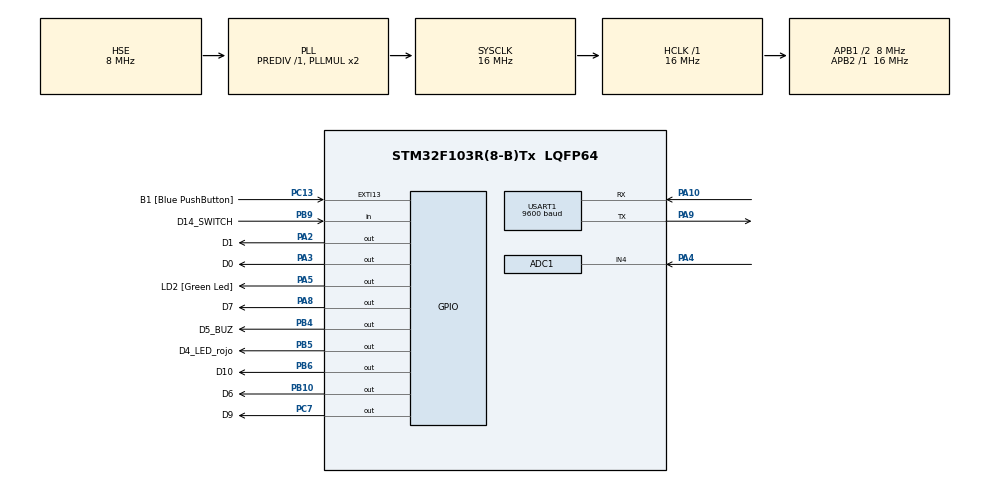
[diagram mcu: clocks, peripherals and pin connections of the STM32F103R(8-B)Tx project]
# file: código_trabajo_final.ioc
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ADC1.Channel-0\#ChannelRegularConversion=ADC_CHANNEL_4
ADC1.ContinuousConvMode=DISABLE
ADC1.NbrOfConversionFlag=1
ADC1.Rank-0\#ChannelRegularConversion=1
ADC1.SamplingTime-0\#ChannelRegularConversion=ADC_SAMPLETIME_41CYCLES_5
ADC1.master=1
Dma.Request0=USART1_RX
Dma.Request1=USART1_TX
Dma.USART1_RX.0.Direction=DMA_PERIPH_TO_MEMORY
Dma.USART1_RX.0.Instance=DMA1_Channel5
Dma.USART1_RX.0.MemDataAlignment=DMA_MDATAALIGN_BYTE
Dma.USART1_RX.0.MemInc=DMA_MINC_ENABLE
Dma.USART1_RX.0.Mode=DMA_NORMAL
Dma.USART1_RX.0.PeriphDataAlignment=DMA_PDATAALIGN_BYTE
Dma.USART1_RX.0.PeriphInc=DMA_PINC_DISABLE
Dma.USART1_RX.0.Priority=DMA_PRIORITY_LOW
Dma.USART1_TX.1.Direction=DMA_MEMORY_TO_PERIPH
Dma.USART1_TX.1.Instance=DMA1_Channel4
Dma.USART1_TX.1.MemDataAlignment=DMA_MDATAALIGN_BYTE
Dma.USART1_TX.1.MemInc=DMA_MINC_ENABLE
Dma.USART1_TX.1.Mode=DMA_NORMAL
Dma.USART1_TX.1.PeriphDataAlignment=DMA_PDATAALIGN_BYTE
Dma.USART1_TX.1.PeriphInc=DMA_PINC_DISABLE
Dma.USART1_TX.1.Priority=DMA_PRIORITY_LOW
Mcu.Family=STM32F1
Mcu.Name=STM32F103R(8-B)Tx
Mcu.Package=LQFP64
NVIC.DMA1_Channel4_IRQn=true\:0\:0\:false\:false\:true\:false\:true\:true
NVIC.DMA1_Channel5_IRQn=true\:0\:0\:false\:false\:true\:false\:true\:true
NVIC.EXTI15_10_IRQn=true\:0\:0\:false\:false\:true\:true\:true\:true
NVIC.PriorityGroup=NVIC_PRIORITYGROUP_4
NVIC.TIM2_IRQn=true\:0\:0\:false\:false\:true\:true\:true\:true
NVIC.USART1_IRQn=true\:0\:0\:false\:false\:true\:true\:true\:true
PA10.Mode=Asynchronous
PA10.Signal=USART1_RX
PA13.GPIO_Label=TMS
PA13.Mode=Serial_Wire
PA13.Signal=SYS_JTMS-SWDIO
PA14.GPIO_Label=TCK
PA14.Mode=Serial_Wire
PA14.Signal=SYS_JTCK-SWCLK
PA2.GPIO_Label=D1
PA2.Signal=GPIO_Output
PA3.GPIO_Label=D0
PA3.Signal=GPIO_Output
PA4.Signal=ADCx_IN4
PA5.GPIO_Label=LD2 [Green Led]
PA5.GPIO_ModeDefaultOutputPP=GPIO_MODE_OUTPUT_PP
PA5.GPIO_PuPd=GPIO_NOPULL
PA5.GPIO_Speed=GPIO_SPEED_FREQ_LOW
PA5.Signal=GPIO_Output
PA8.GPIO_Label=D7
PA8.Signal=GPIO_Output
PA9.Mode=Asynchronous
PA9.Signal=USART1_TX
PB10.GPIO_Label=D6
PB10.Signal=GPIO_Output
PB3.GPIO_Label=SWO
PB3.Signal=SYS_JTDO-TRACESWO
PB4.GPIO_Label=D5_BUZ
PB4.Signal=GPIO_Output
PB5.GPIO_Label=D4_LED_rojo
PB5.Signal=GPIO_Output
PB6.GPIO_Label=D10
PB6.Signal=GPIO_Output
PB9.GPIO_Label=D14_SWITCH
PB9.Signal=GPIO_Input
PC13-TAMPER-RTC.GPIO_Label=B1 [Blue PushButton]
PC13-TAMPER-RTC.GPIO_PuPd=GPIO_NOPULL
PC13-TAMPER-RTC.Signal=GPXTI13
PC14-OSC32_IN.Signal=RCC_OSC32_IN
PC15-OSC32_OUT.Signal=RCC_OSC32_OUT
PC7.GPIO_Label=D9
PC7.Signal=GPIO_Output
PD0-OSC_IN.Mode=HSE-External-Clock-Source
PD0-OSC_IN.Signal=RCC_OSC_IN
PD1-OSC_OUT.Mode=HSE-External-Clock-Source
PD1-OSC_OUT.Signal=RCC_OSC_OUT
ProjectManager.HeapSize=0x200
ProjectManager.StackSize=0x400
ProjectManager.TargetToolchain=STM32CubeIDE
RCC.AHBFreq_Value=16000000
RCC.APB1CLKDivider=RCC_HCLK_DIV2
RCC.APB1Freq_Value=8000000
RCC.APB1TimFreq_Value=16000000
RCC.APB2Freq_Value=16000000
RCC.APB2TimFreq_Value=16000000
RCC.HCLKFreq_Value=16000000
RCC.PLLSourceVirtual=RCC_PLLSOURCE_HSE
RCC.RTCClockSelection=RCC_RTCCLKSOURCE_LSE
RCC.SYSCLKFreq_VALUE=16000000
RCC.SYSCLKSource=RCC_SYSCLKSOURCE_PLLCLK
RCC.USBFreq_Value=16000000
SH.ADCx_IN4.0=ADC1_IN4,IN4
TIM2.Period=999
TIM2.Prescaler=1599
USART1.BaudRate=9600
USART1.VirtualMode=VM_ASYNC
VP_TIM2_VS_ClockSourceINT.Mode=Internal
board=NUCLEO-F103RB

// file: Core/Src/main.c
/* USER CODE BEGIN Header */
/**
  ******************************************************************************
  * @file           : main.c
  * @brief          : Main program body
  ******************************************************************************
  * @attention
  *
  * Copyright (c) 2026 STMicroelectronics.
  * All rights reserved.
  *
  * This software is licensed under terms that can be found in the LICENSE file
  * in the root directory of this software component.
  * If no LICENSE file comes with this software, it is provided AS-IS.
  *
  ******************************************************************************
  */
/* USER CODE END Header */
#include "main.h"

/* USER CODE BEGIN Includes */
#include "string.h"
#include "stdio.h"
#include "math.h"
#include "stdlib.h"
#include "cod_display.h"

///Defino la seccion de memoria que voy a utilizar para guardar modo
#define FLASH_USER_START_ADDR  0x0801FC00
/* USER CODE END Includes */

ADC_HandleTypeDef hadc1;

TIM_HandleTypeDef htim2;

UART_HandleTypeDef huart1;
DMA_HandleTypeDef hdma_usart1_rx;
DMA_HandleTypeDef hdma_usart1_tx;

/* USER CODE BEGIN PV */
	volatile uint8_t adc_flag = 0; ///Flag para leer valor del adc
	volatile uint8_t timer_flag = 0;
	///MANEJO DE MEMORIA
	typedef struct {
	    uint32_t firma;
	    uint32_t modo;
	    uint32_t temp_usuario;
	} Config;

	#define CONFIG_FIRMA 0xDEADBEEF

	///FUNCION PARA ESCRIBIR EN LA FLASH
	void Flash_Write_Config(Config *config)
	{
	    HAL_FLASH_Unlock();

	    FLASH_EraseInitTypeDef EraseInitStruct;
	    uint32_t PageError;

	    EraseInitStruct.TypeErase = FLASH_TYPEERASE_PAGES;
	    EraseInitStruct.PageAddress = FLASH_USER_START_ADDR;
	    EraseInitStruct.NbPages = 1;

	    HAL_FLASHEx_Erase(&EraseInitStruct, &PageError);

	    uint32_t *data = (uint32_t*) config;
	    for (int i = 0; i < sizeof(Config)/4; i++)
	    {
	        HAL_FLASH_Program(FLASH_TYPEPROGRAM_WORD,
	                          FLASH_USER_START_ADDR + i*4,
	                          data[i]);
	    }

	    HAL_FLASH_Lock();
	}

	///FUNCION PARA LEER MEMORIA

	void Flash_Read_Config(Config *config)
	{
	    memcpy(config, (void*)FLASH_USER_START_ADDR, sizeof(Config));
	}
	///ADC FLAG!!!!
	void HAL_TIM_PeriodElapsedCallback(TIM_HandleTypeDef *htim)
	{
	    if (htim->Instance == TIM2)
	    {
	       adc_flag = 1;

	    }
	}

	static uint8_t rx_buf[32];
	static char* tx_1 = "Bienvenido, ingrese el modo que desea:\n Opciones: MATE - TE - SET [XX] - REPETIR\r\n";
	static char* tx_3 = "Opciones: MATE - TE - SET [XX] - REPETIR\r\n";

	volatile uint8_t rx_ready = 0; ///variable para la funcion callback -> indica el fin de la recepcion de datos
	volatile uint16_t rx_size = 0;

	///Me conviene usar este callback ya que los mensajes que el micro recibe no tienen todos la misma longitud
	void HAL_UARTEx_RxEventCallback(UART_HandleTypeDef *huart, uint16_t Size)
	{
	    if (huart->Instance == USART1)
	    {
	        rx_size = Size;   //
	        rx_ready = 1;

	        HAL_UARTEx_ReceiveToIdle_DMA(&huart1, rx_buf, sizeof(rx_buf));
	    }
	}
///la tension del ADC no puede superar los 3.3V
	uint32_t adc_read_once(void)
	{
	    HAL_ADC_Start(&hadc1);

	    if (HAL_ADC_PollForConversion(&hadc1, 100) == HAL_OK)
	    {
	        uint32_t val = HAL_ADC_GetValue(&hadc1);
	        HAL_ADC_Stop(&hadc1);
	        return val;
	    }

	    HAL_ADC_Stop(&hadc1);
	    return 0;   // error
	}
	uint32_t adc_in;///Valor de entrada ADC, luego convertir a tension
	float tension_a3;
	float r_ntc;
/* USER CODE END PV */

void SystemClock_Config(void);
static void MX_GPIO_Init(void);
static void MX_DMA_Init(void);
static void MX_USART1_UART_Init(void);
static void MX_ADC1_Init(void);
static void MX_TIM2_Init(void);

int main(void)
{

  /* MCU Configuration--------------------------------------------------------*/

  /* Reset of all peripherals, Initializes the Flash interface and the Systick. */
  HAL_Init();

  /* Configure the system clock */
  SystemClock_Config();

  /* Initialize all configured peripherals */
  MX_GPIO_Init();
  MX_DMA_Init();
  MX_USART1_UART_Init();
  MX_ADC1_Init();
  MX_TIM2_Init();
  /* USER CODE BEGIN 2 */
  HAL_TIM_Base_Start_IT(&htim2);
//  if (HAL_TIM_Base_Start_IT(&htim2) != HAL_OK)
//  {
//      Error_Handler();
//  }
  ///int size = strlen(tx_1);
  ///int size2 = strlen(tx_2);
//  HAL_UART_Receive_DMA(&huart1,rx_buf,size);
///MEMORIA, CONFIG
  Config config;

  Flash_Read_Config(&config);

  if(config.firma != CONFIG_FIRMA)
  {
      // Valores por defecto
      config.modo = 0;
      config.temp_usuario = 75;
      config.firma = CONFIG_FIRMA;

      Flash_Write_Config(&config);
  }
  HAL_Delay(200);
  char msg[60];

  HAL_UART_Transmit_DMA(&huart1, (uint8_t*)tx_1, strlen(tx_1));

  ///Esta funcion recibe hasta el "silencio" osea no espera a que se llene el buffer de rx
  HAL_UARTEx_ReceiveToIdle_DMA(&huart1, rx_buf, sizeof(rx_buf));
  __HAL_DMA_DISABLE_IT(huart1.hdmarx, DMA_IT_HT); ///No se para que es esto -> Para prevenir que el callback se dispare dos veces

  /* USER CODE END 2 */

  /* Infinite loop */
  /* USER CODE BEGIN WHILE */

  uint8_t alerta_confirmada = 0;
  uint8_t buzzer_activo = 0;
  uint8_t switch_activo = HAL_GPIO_ReadPin(GPIOB, GPIO_PIN_9);

//  CoreDebug->DEMCR |= CoreDebug_DEMCR_TRCENA_Msk;
//  DWT->CYCCNT = 0;
//  DWT->CTRL |= DWT_CTRL_CYCCNTENA_Msk;
  while (1)
  {
	    char r_txt[50];

		///resolucion del ADC 12 bits == 0 - 4095
	    if (rx_ready)
	    {
	        rx_ready = 0;

	        if (rx_size < sizeof(rx_buf))
	            rx_buf[rx_size] = '\0';
	        else
	        {
	            rx_buf[sizeof(rx_buf)-1] = '\0';
	        }
	        ///COMPARO EL MENSAJE RECIBIDO PARA VERIFICAR ELECCION DEL USUARIO
		    if (strncmp(rx_buf, "MATE", 4) == 0)
		    {
		    	sprintf(r_txt, "Modo MATE - 80C\r\n");
		    	HAL_UART_Transmit(&huart1, (uint8_t*)r_txt, strlen(r_txt), 100);
		        config.modo = 1;
		        config.temp_usuario = 80;
		        Flash_Write_Config(&config);
		    }

		    else if (strncmp(rx_buf, "TE", 2) == 0)
		    {
		    	sprintf(r_txt, "Modo TE - 90C\r\n");
		    	HAL_UART_Transmit(&huart1, (uint8_t*)r_txt, strlen(r_txt), 100);
		        config.modo = 2;
		        config.temp_usuario = 90;
		        Flash_Write_Config(&config);
		    }

		    else if (strncmp(rx_buf, "SET ", 4) == 0)
		    {

		        char *endptr;
		        int temp = strtol(rx_buf + 4, &endptr, 10);

		        if (endptr != rx_buf + 4)
		        {
		            config.modo = 3;
		            config.temp_usuario = temp;
		            Flash_Write_Config(&config);
		        }
		        else
		        {
		            sprintf(r_txt, "Error formato. Use: SET XX\r\n");
		        }
		    	sprintf(r_txt, "Modo PERSONALIZADO - %d C\r\n", temp);
		    	HAL_UART_Transmit(&huart1, (uint8_t*)r_txt, strlen(r_txt), 100);
		    }
		    else if (strncmp(rx_buf, "REPETIR", 7) == 0)
		    {
		        // no leo flash, uso lo que ya está en config

		        if (config.modo == 1)
		        {
		            sprintf(r_txt, "Repitiendo Modo MATE - 80C\r\n");
		        }
		        else if (config.modo == 2)
		        {
		            sprintf(r_txt, "Repitiendo Modo TE - 90C\r\n");
		        }
		        else if (config.modo == 3)
		        {
		            sprintf(r_txt, "Repitiendo Modo PERSONALIZADO - %ld C\r\n", config.temp_usuario);
		        }

		        HAL_UART_Transmit(&huart1, (uint8_t*)r_txt, strlen(r_txt), 100);

   			if (strncmp((char*)rx_buf, "OK!", 3) == 0)
   			{
   				alerta_confirmada = 1;
   				HAL_GPIO_WritePin(GPIOB, GPIO_PIN_4, GPIO_PIN_RESET);
   			}

	    }
	    if (adc_flag)
	   	    {

	   	        adc_flag = 0;
	   	        adc_in = adc_read_once();
	   		  	float tension_a3 = ((float)adc_in/4095.0f) * 3.3f;

	   		  	///Constantes del termistor NTC
	   		  	float beta = 3950.0f;
	   		  	float T0 = 298.15f;      // 25°C en Kelvin
	   		  	float R0 = 10000.0f;     // 10k nominal
	   		  	///CALCULO LA RESISTENCIA MEDAINTE EL DISVISOR RESISTIVO
	   		  	r_ntc = (tension_a3*9400.0f) / (3.3f - tension_a3);
	   		  	float tempK = 1.0f / ( (1.0f/T0) + (1.0f/beta)*log(r_ntc/R0) );
	   		  	float tempC = tempK - 273.15f;

	   		  	int tempC_int = (int) (tempC);
	   		  	char tx_buf[40];
	   		 	 sprintf(tx_buf, "ALERTA TEMP = %d \r\n", tempC_int);

	   		 	if (tempC_int > config.temp_usuario) ///temp del sensor supera la del usuario -> envia notificacion, activa led y buzzer
	   			{
	   		  			if(!alerta_confirmada)
	   		  			{
	   		  				HAL_UART_Transmit(&huart1, (uint8_t*)tx_buf, strlen(tx_buf), 1000);
	   		  				buzzer_activo =1;
	   		  			}
	   		  			else
	   		  			{
	   		  				buzzer_activo = 0;
	   		  			}
	   			 }

	   		  	else
	   		  	{
	   		  		alerta_confirmada = 0;
	   		  		buzzer_activo = 0;
	   		  	}
	   		  	///depende del flag del buzzer lo enciendo o no
	   		 HAL_GPIO_WritePin(GPIOB, GPIO_PIN_4, buzzer_activo ? GPIO_PIN_SET : GPIO_PIN_RESET);

	   		uint32_t start = DWT->CYCCNT;

	   		// procesamiento ADC

	   		uint32_t end = DWT->CYCCNT;
	   		uint32_t ciclos = end - start;
	   	    }
	    __WFI();

  }

}

    /* USER CODE END WHILE */

    /* USER CODE BEGIN 3 */

    /* USER CODE END WHILE */

    /* USER CODE BEGIN 3 */

  /* USER CODE END 3 */
}

void SystemClock_Config(void)
{
  RCC_OscInitTypeDef RCC_OscInitStruct = {0};
  RCC_ClkInitTypeDef RCC_ClkInitStruct = {0};
  RCC_PeriphCLKInitTypeDef PeriphClkInit = {0};

  /** Initializes the RCC Oscillators according to the specified parameters
  * in the RCC_OscInitTypeDef structure.
  */
  RCC_OscInitStruct.OscillatorType = RCC_OSCILLATORTYPE_HSE;
  RCC_OscInitStruct.HSEState = RCC_HSE_BYPASS;
  RCC_OscInitStruct.HSEPredivValue = RCC_HSE_PREDIV_DIV1;
  RCC_OscInitStruct.HSIState = RCC_HSI_ON;
  RCC_OscInitStruct.PLL.PLLState = RCC_PLL_ON;
  RCC_OscInitStruct.PLL.PLLSource = RCC_PLLSOURCE_HSE;
  RCC_OscInitStruct.PLL.PLLMUL = RCC_PLL_MUL2;
  if (HAL_RCC_OscConfig(&RCC_OscInitStruct) != HAL_OK)
  {
    Error_Handler();
  }

  /** Initializes the CPU, AHB and APB buses clocks
  */
  RCC_ClkInitStruct.ClockType = RCC_CLOCKTYPE_HCLK|RCC_CLOCKTYPE_SYSCLK
                              |RCC_CLOCKTYPE_PCLK1|RCC_CLOCKTYPE_PCLK2;
  RCC_ClkInitStruct.SYSCLKSource = RCC_SYSCLKSOURCE_PLLCLK;
  RCC_ClkInitStruct.AHBCLKDivider = RCC_SYSCLK_DIV1;
  RCC_ClkInitStruct.APB1CLKDivider = RCC_HCLK_DIV2;
  RCC_ClkInitStruct.APB2CLKDivider = RCC_HCLK_DIV1;

  if (HAL_RCC_ClockConfig(&RCC_ClkInitStruct, FLASH_LATENCY_0) != HAL_OK)
  {
    Error_Handler();
  }
  PeriphClkInit.PeriphClockSelection = RCC_PERIPHCLK_ADC;
  PeriphClkInit.AdcClockSelection = RCC_ADCPCLK2_DIV2;
  if (HAL_RCCEx_PeriphCLKConfig(&PeriphClkInit) != HAL_OK)
  {
    Error_Handler();
  }
}

static void MX_ADC1_Init(void)
{

  ADC_ChannelConfTypeDef sConfig = {0};

  /** Common config
  */
  hadc1.Instance = ADC1;
  hadc1.Init.ScanConvMode = ADC_SCAN_DISABLE;
  hadc1.Init.ContinuousConvMode = DISABLE;
  hadc1.Init.DiscontinuousConvMode = DISABLE;
  hadc1.Init.ExternalTrigConv = ADC_SOFTWARE_START;
  hadc1.Init.DataAlign = ADC_DATAALIGN_RIGHT;
  hadc1.Init.NbrOfConversion = 1;
  if (HAL_ADC_Init(&hadc1) != HAL_OK)
  {
    Error_Handler();
  }

  /** Configure Regular Channel
  */
  sConfig.Channel = ADC_CHANNEL_4;
  sConfig.Rank = ADC_REGULAR_RANK_1;
  sConfig.SamplingTime = ADC_SAMPLETIME_41CYCLES_5;
  if (HAL_ADC_ConfigChannel(&hadc1, &sConfig) != HAL_OK)
  {
    Error_Handler();
  }

}

static void MX_TIM2_Init(void)
{

  TIM_ClockConfigTypeDef sClockSourceConfig = {0};
  TIM_MasterConfigTypeDef sMasterConfig = {0};

  htim2.Instance = TIM2;
  htim2.Init.Prescaler = 1599;
  htim2.Init.CounterMode = TIM_COUNTERMODE_UP;
  htim2.Init.Period = 999;
  htim2.Init.ClockDivision = TIM_CLOCKDIVISION_DIV1;
  htim2.Init.AutoReloadPreload = TIM_AUTORELOAD_PRELOAD_DISABLE;
  if (HAL_TIM_Base_Init(&htim2) != HAL_OK)
  {
    Error_Handler();
  }
  sClockSourceConfig.ClockSource = TIM_CLOCKSOURCE_INTERNAL;
  if (HAL_TIM_ConfigClockSource(&htim2, &sClockSourceConfig) != HAL_OK)
  {
    Error_Handler();
  }
  sMasterConfig.MasterOutputTrigger = TIM_TRGO_RESET;
  sMasterConfig.MasterSlaveMode = TIM_MASTERSLAVEMODE_DISABLE;
  if (HAL_TIMEx_MasterConfigSynchronization(&htim2, &sMasterConfig) != HAL_OK)
  {
    Error_Handler();
  }

}

static void MX_USART1_UART_Init(void)
{

  huart1.Instance = USART1;
  huart1.Init.BaudRate = 9600;
  huart1.Init.WordLength = UART_WORDLENGTH_8B;
  huart1.Init.StopBits = UART_STOPBITS_1;
  huart1.Init.Parity = UART_PARITY_NONE;
  huart1.Init.Mode = UART_MODE_TX_RX;
  huart1.Init.HwFlowCtl = UART_HWCONTROL_NONE;
  huart1.Init.OverSampling = UART_OVERSAMPLING_16;
  if (HAL_UART_Init(&huart1) != HAL_OK)
  {
    Error_Handler();
  }

}

static void MX_DMA_Init(void)
{

  /* DMA controller clock enable */
  __HAL_RCC_DMA1_CLK_ENABLE();

  /* DMA interrupt init */
  /* DMA1_Channel4_IRQn interrupt configuration */
  HAL_NVIC_SetPriority(DMA1_Channel4_IRQn, 0, 0);
  HAL_NVIC_EnableIRQ(DMA1_Channel4_IRQn);
  /* DMA1_Channel5_IRQn interrupt configuration */
  HAL_NVIC_SetPriority(DMA1_Channel5_IRQn, 0, 0);
  HAL_NVIC_EnableIRQ(DMA1_Channel5_IRQn);

}

static void MX_GPIO_Init(void)
{
  GPIO_InitTypeDef GPIO_InitStruct = {0};

  /* GPIO Ports Clock Enable */
  __HAL_RCC_GPIOC_CLK_ENABLE();
  __HAL_RCC_GPIOD_CLK_ENABLE();
  __HAL_RCC_GPIOA_CLK_ENABLE();
  __HAL_RCC_GPIOB_CLK_ENABLE();

  /*Configure GPIO pin Output Level */
  HAL_GPIO_WritePin(GPIOA, D1_Pin|D0_Pin|LD2_Pin|D7_Pin, GPIO_PIN_RESET);

  /*Configure GPIO pin Output Level */
  HAL_GPIO_WritePin(GPIOB, D6_Pin|D5_BUZ_Pin|D4_LED_rojo_Pin|D10_Pin, GPIO_PIN_RESET);

  /*Configure GPIO pin Output Level */
  HAL_GPIO_WritePin(D9_GPIO_Port, D9_Pin, GPIO_PIN_RESET);

  /*Configure GPIO pin : B1_Pin */
  GPIO_InitStruct.Pin = B1_Pin;
  GPIO_InitStruct.Mode = GPIO_MODE_IT_RISING;
  GPIO_InitStruct.Pull = GPIO_NOPULL;
  HAL_GPIO_Init(B1_GPIO_Port, &GPIO_InitStruct);

  /*Configure GPIO pins : D1_Pin D0_Pin LD2_Pin D7_Pin */
  GPIO_InitStruct.Pin = D1_Pin|D0_Pin|LD2_Pin|D7_Pin;
  GPIO_InitStruct.Mode = GPIO_MODE_OUTPUT_PP;
  GPIO_InitStruct.Pull = GPIO_NOPULL;
  GPIO_InitStruct.Speed = GPIO_SPEED_FREQ_LOW;
  HAL_GPIO_Init(GPIOA, &GPIO_InitStruct);

  /*Configure GPIO pins : D6_Pin D5_BUZ_Pin D4_LED_rojo_Pin D10_Pin */
  GPIO_InitStruct.Pin = D6_Pin|D5_BUZ_Pin|D4_LED_rojo_Pin|D10_Pin;
  GPIO_InitStruct.Mode = GPIO_MODE_OUTPUT_PP;
  GPIO_InitStruct.Pull = GPIO_NOPULL;
  GPIO_InitStruct.Speed = GPIO_SPEED_FREQ_LOW;
  HAL_GPIO_Init(GPIOB, &GPIO_InitStruct);

  /*Configure GPIO pin : D9_Pin */
  GPIO_InitStruct.Pin = D9_Pin;
  GPIO_InitStruct.Mode = GPIO_MODE_OUTPUT_PP;
  GPIO_InitStruct.Pull = GPIO_NOPULL;
  GPIO_InitStruct.Speed = GPIO_SPEED_FREQ_LOW;
  HAL_GPIO_Init(D9_GPIO_Port, &GPIO_InitStruct);

  /*Configure GPIO pin : D14_SWITCH_Pin */
  GPIO_InitStruct.Pin = D14_SWITCH_Pin;
  GPIO_InitStruct.Mode = GPIO_MODE_INPUT;
  GPIO_InitStruct.Pull = GPIO_NOPULL;
  HAL_GPIO_Init(D14_SWITCH_GPIO_Port, &GPIO_InitStruct);

  /* EXTI interrupt init*/
  HAL_NVIC_SetPriority(EXTI15_10_IRQn, 0, 0);
  HAL_NVIC_EnableIRQ(EXTI15_10_IRQn);

}

void Error_Handler(void)
{
  __disable_irq();
  while (1)
  {
  }
}
